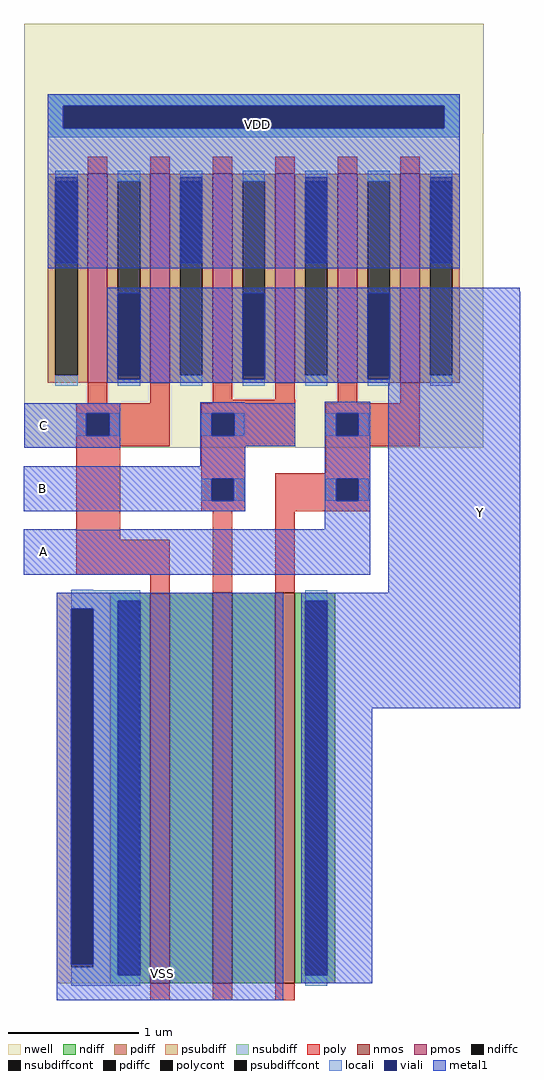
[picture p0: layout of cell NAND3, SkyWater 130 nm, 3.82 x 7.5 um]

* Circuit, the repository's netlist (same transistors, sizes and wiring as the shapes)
* NGSPICE file created from NAND3.ext - technology: sky130B

.subckt efen3 a_n173_n300# a_81_n326# a_111_n300# a_n15_n326# a_n111_n326# VSUBS
X0 a_111_n300# a_81_n326# a_15_n300# VSUBS sky130_fd_pr__nfet_01v8 ad=0.93 pd=6.62 as=0.495 ps=3.33 w=3 l=0.15
X1 a_n81_n300# a_n111_n326# a_n173_n300# VSUBS sky130_fd_pr__nfet_01v8 ad=0.495 pd=3.33 as=0.93 ps=6.62 w=3 l=0.15
X2 a_15_n300# a_n15_n326# a_n81_n300# VSUBS sky130_fd_pr__nfet_01v8 ad=0.495 pd=3.33 as=0.495 ps=3.33 w=3 l=0.15
.ends

.subckt efemosp a_111_n258# w_n353_n261# a_n273_n258# a_n317_n161# a_n81_n258# a_n225_n161#
X0 a_n317_n161# a_111_n258# a_n225_n161# w_n353_n261# sky130_fd_pr__pfet_01v8 ad=0.4991 pd=3.84 as=0.26565 ps=1.94 w=1.61 l=0.15
X1 a_n225_n161# a_111_n258# a_n317_n161# w_n353_n261# sky130_fd_pr__pfet_01v8 ad=0.26565 pd=1.94 as=0.26565 ps=1.94 w=1.61 l=0.15
X2 a_n225_n161# a_n273_n258# a_n317_n161# w_n353_n261# sky130_fd_pr__pfet_01v8 ad=0.26565 pd=1.94 as=0.4991 ps=3.84 w=1.61 l=0.15
X3 a_n317_n161# a_n81_n258# a_n225_n161# w_n353_n261# sky130_fd_pr__pfet_01v8 ad=0.26565 pd=1.94 as=0.26565 ps=1.94 w=1.61 l=0.15
X4 a_n317_n161# a_n273_n258# a_n225_n161# w_n353_n261# sky130_fd_pr__pfet_01v8 ad=0.26565 pd=1.94 as=0.26565 ps=1.94 w=1.61 l=0.15
X5 a_n225_n161# a_n81_n258# a_n317_n161# w_n353_n261# sky130_fd_pr__pfet_01v8 ad=0.26565 pd=1.94 as=0.26565 ps=1.94 w=1.61 l=0.15
.ends

.subckt NAND3 A B C VSS VDD Y
Xefen3_0 VSS A Y B C VSS efen3
Xefemosp_0 A VDD C VDD B Y efemosp
.ends

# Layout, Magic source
magic
tech sky130B
magscale 1 2
<< nwell >>
rect 18 500 725 668
rect 46 494 688 500
rect 46 493 54 494
rect 97 16 167 85
rect 289 16 359 85
rect 498 35 532 69
<< psubdiff >>
rect 68 -231 150 -207
rect 68 -783 90 -231
rect 124 -783 150 -231
rect 68 -807 150 -783
<< nsubdiff >>
rect 54 542 688 560
rect 54 508 78 542
rect 664 508 688 542
rect 54 494 688 508
<< psubdiffcont >>
rect 90 -783 124 -231
<< nsubdiffcont >>
rect 78 508 664 542
<< poly >>
rect 308 85 435 90
rect 98 69 242 85
rect 98 35 114 69
rect 148 35 242 69
rect 98 19 242 35
rect 290 69 435 85
rect 290 35 306 69
rect 340 35 435 69
rect 290 19 435 35
rect 482 69 626 85
rect 482 35 498 69
rect 532 35 626 69
rect 482 19 626 35
rect 98 -125 166 19
rect 290 -31 358 19
rect 482 -23 550 19
rect 290 -65 306 -31
rect 340 -65 358 -31
rect 290 -81 358 -65
rect 404 -31 550 -23
rect 404 -65 498 -31
rect 532 -65 550 -31
rect 404 -81 550 -65
rect 98 -179 242 -125
rect 212 -209 242 -179
rect 308 -191 338 -81
rect 404 -181 434 -81
<< polycont >>
rect 114 35 148 69
rect 306 35 340 69
rect 498 35 532 69
rect 306 -65 340 -31
rect 498 -65 532 -31
<< locali >>
rect 54 542 688 560
rect 54 508 78 542
rect 664 508 688 542
rect 54 494 688 508
rect 98 35 113 69
rect 149 35 164 69
rect 290 35 306 69
rect 341 35 356 69
rect 290 -65 306 -31
rect 340 -65 356 -31
rect 482 -65 498 -31
rect 532 -65 548 -31
rect 90 -203 124 -202
rect 90 -231 196 -203
rect 124 -783 196 -231
rect 90 -811 196 -783
<< viali >>
rect 78 508 664 542
rect 113 35 114 69
rect 114 35 148 69
rect 148 35 149 69
rect 306 35 340 69
rect 340 35 341 69
rect 498 35 532 69
rect 306 -65 340 -31
rect 498 -65 532 -31
rect 90 -778 124 -231
<< metal1 >>
rect 54 542 688 560
rect 54 508 78 542
rect 664 508 688 542
rect 54 292 688 508
rect 758 123 781 135
rect 289 85 357 86
rect 18 69 166 85
rect 18 35 113 69
rect 149 35 166 69
rect 18 16 166 35
rect 289 69 435 85
rect 289 35 306 69
rect 341 35 435 69
rect 289 19 435 35
rect 480 69 550 87
rect 480 35 498 69
rect 532 35 550 69
rect 289 -12 358 19
rect 17 -31 358 -12
rect 17 -65 306 -31
rect 340 -65 358 -31
rect 17 -81 358 -65
rect 480 -31 550 35
rect 480 -65 498 -31
rect 532 -65 550 -31
rect 480 -109 550 -65
rect 17 -110 98 -109
rect 166 -110 550 -109
rect 17 -179 550 -110
rect 578 -207 781 123
rect 68 -231 416 -207
rect 68 -778 90 -231
rect 124 -778 416 -231
rect 68 -833 416 -778
rect 444 -384 781 -207
rect 444 -807 553 -384
use efemosp  efemosp_0
transform 1 0 371 0 1 277
box -353 -261 410 223
use efen3  efen3_0
transform 1 0 323 0 1 -507
box -173 -326 173 326
<< labels >>
flabel metal1 17 -179 77 -109 0 FreeSans 160 0 0 0 A
port 0 nsew
flabel metal1 17 -81 76 -12 0 FreeSans 160 0 0 0 B
port 1 nsew
flabel metal1 18 16 77 85 0 FreeSans 160 0 0 0 C
port 3 nsew
flabel metal1 97 -833 365 -753 0 FreeSans 160 0 0 0 VSS
port 4 nsew
flabel metal1 243 474 511 554 0 FreeSans 160 0 0 0 VDD
port 5 nsew
flabel metal1 683 -210 757 42 0 FreeSans 160 0 0 0 Y
port 7 nsew
<< end >>

# cell efemosp: kit device sky130_fd_pr__pfet_01v8, w 1.605 l 0.15 m 1 nf 6 diffcov 100 polycov 100 guard 0 glc 1 grc 1 gtc 1 gbc 1 tbcov 100 rlcov 100 topc 1 botc 1 poverlap 0 doverlap 1 lmin 0.15 wmin 0.42 compatible {sky130_fd_pr__pfet_01v8 sky130_fd_pr__pfet_01v8_lvt sky130_fd_pr__pfet_01v8_hvt sky130_fd_pr__pfet_g5v0d10v5} full_metal 1 viasrc 100 viadrn 100 viagate 100 viagb 0 viagr 0 viagl 0 viagt 0

# cell efen3: kit device sky130_fd_pr__nfet_01v8, w 3 l 0.150 m 1 nf 3 diffcov 100 polycov 100 guard 0 glc 1 grc 1 gtc 1 gbc 1 tbcov 100 rlcov 100 topc 0 botc 0 poverlap 0 doverlap 1 lmin 0.15 wmin 0.42 compatible {sky130_fd_pr__nfet_01v8 sky130_fd_pr__nfet_01v8_lvt sky130_fd_bs_flash__special_sonosfet_star sky130_fd_pr__nfet_g5v0d10v5 sky130_fd_pr__nfet_05v0_nvt sky130_fd_pr__nfet_03v3_nvt} full_metal 1 viasrc 100 viadrn 100 viagate 100 viagb 0 viagr 0 viagl 0 viagt 0
